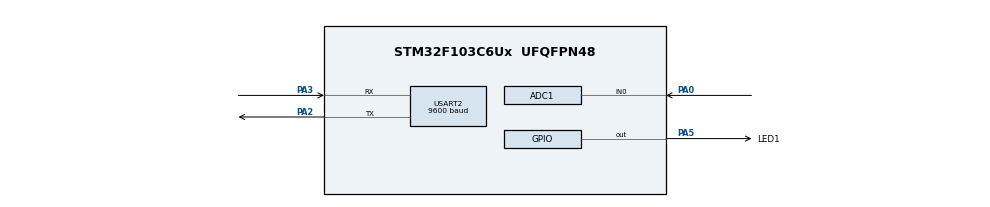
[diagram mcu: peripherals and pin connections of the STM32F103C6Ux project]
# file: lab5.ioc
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ADC1.Channel-0\#ChannelRegularConversion=ADC_CHANNEL_0
ADC1.ContinuousConvMode=ENABLE
ADC1.NbrOfConversionFlag=1
ADC1.Rank-0\#ChannelRegularConversion=1
ADC1.SamplingTime-0\#ChannelRegularConversion=ADC_SAMPLETIME_1CYCLE_5
ADC1.master=1
Mcu.Family=STM32F1
Mcu.Name=STM32F103C6Ux
Mcu.Package=UFQFPN48
NVIC.PriorityGroup=NVIC_PRIORITYGROUP_4
NVIC.TIM2_IRQn=true\:0\:0\:false\:false\:true\:true\:true
NVIC.USART2_IRQn=true\:0\:0\:false\:false\:true\:true\:true
PA0-WKUP.Signal=ADCx_IN0
PA2.Mode=Asynchronous
PA2.Signal=USART2_TX
PA3.Mode=Asynchronous
PA3.Signal=USART2_RX
PA5.GPIO_Label=LED1
PA5.Signal=GPIO_Output
ProjectManager.HeapSize=0x200
ProjectManager.StackSize=0x400
ProjectManager.TargetToolchain=STM32CubeIDE
RCC.APB1Freq_Value=8000000
RCC.APB2Freq_Value=8000000
SH.ADCx_IN0.0=ADC1_IN0,IN0
TIM2.Period=9
TIM2.Prescaler=7999
USART2.BaudRate=9600
USART2.VirtualMode=VM_ASYNC
VP_SYS_VS_ND.Mode=No_Debug
VP_TIM2_VS_ClockSourceINT.Mode=Internal
board=custom

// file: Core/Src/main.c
/* USER CODE BEGIN Header */
/**
 ******************************************************************************
 * @file           : main.c
 * @brief          : Main program body
 ******************************************************************************
 * @attention
 *
 * <h2><center>&copy; Copyright (c) 2024 STMicroelectronics.
 * All rights reserved.</center></h2>
 *
 * This software component is licensed by ST under BSD 3-Clause license,
 * the "License"; You may not use this file except in compliance with the
 * License. You may obtain a copy of the License at:
 *                        opensource.org/licenses/BSD-3-Clause
 *
 ******************************************************************************
 */
/* USER CODE END Header */
#include "main.h"

/* USER CODE BEGIN Includes */
#include "software_timer.h"
#include "command_parser_fsm.h"
#include "uart_communiation_fsm.h"
/* USER CODE END Includes */

ADC_HandleTypeDef hadc1;

TIM_HandleTypeDef htim2;

void SystemClock_Config(void);
static void MX_GPIO_Init(void);
static void MX_ADC1_Init(void);
static void MX_USART2_UART_Init(void);
static void MX_TIM2_Init(void);

/* USER CODE BEGIN 0 */

#define MAX_BUFFER_SIZE 30
UART_HandleTypeDef huart2;
uint8_t temp = 0;
uint8_t index_buffer = 0;
uint8_t buffer_flag = 0;
uint8_t buffer[MAX_BUFFER_SIZE];

void HAL_UART_RxCpltCallback(UART_HandleTypeDef * huart){
	if(huart->Instance == USART2){
		buffer[index_buffer++] = temp ;
		HAL_UART_Transmit (&huart2 ,&temp ,1,50) ;
		if(index_buffer >= MAX_BUFFER_SIZE) index_buffer = 0;
		buffer_flag = 1;
	    HAL_UART_Receive_IT(&huart2,&temp,1);
	}
}

/* USER CODE END 0 */

int main(void) {

	/* MCU Configuration--------------------------------------------------------*/

	/* Reset of all peripherals, Initializes the Flash interface and the Systick. */
	HAL_Init();

	/* Configure the system clock */
	SystemClock_Config();

	/* Initialize all configured peripherals */
	MX_GPIO_Init();
	MX_ADC1_Init();
	MX_USART2_UART_Init();
	MX_TIM2_Init();
	/* USER CODE BEGIN 2 */
	HAL_TIM_Base_Start_IT(&htim2);
//	HAL_ADC_Start(&hadc1);
	HAL_UART_Receive_IT(&huart2, &temp, 1);
//	uint32_t ADC_value = 2048;
//	char str[10];
	/* USER CODE END 2 */

	/* Infinite loop */
	while (1) {

		/* USER CODE BEGIN 3 */
		HAL_GPIO_TogglePin(LED1_GPIO_Port, LED1_Pin);  // Nhấp nháy LED
		HAL_Delay(500);                                      // Chờ 500ms
	}
	/* USER CODE END 3 */
}

void SystemClock_Config(void) {
	RCC_OscInitTypeDef RCC_OscInitStruct = { 0 };
	RCC_ClkInitTypeDef RCC_ClkInitStruct = { 0 };
	RCC_PeriphCLKInitTypeDef PeriphClkInit = { 0 };

	/** Initializes the RCC Oscillators according to the specified parameters
	 * in the RCC_OscInitTypeDef structure.
	 */
	RCC_OscInitStruct.OscillatorType = RCC_OSCILLATORTYPE_HSI;
	RCC_OscInitStruct.HSIState = RCC_HSI_ON;
	RCC_OscInitStruct.HSICalibrationValue = RCC_HSICALIBRATION_DEFAULT;
	RCC_OscInitStruct.PLL.PLLState = RCC_PLL_NONE;
	if (HAL_RCC_OscConfig(&RCC_OscInitStruct) != HAL_OK) {
		Error_Handler();
	}
	/** Initializes the CPU, AHB and APB buses clocks
	 */
	RCC_ClkInitStruct.ClockType = RCC_CLOCKTYPE_HCLK | RCC_CLOCKTYPE_SYSCLK
			| RCC_CLOCKTYPE_PCLK1 | RCC_CLOCKTYPE_PCLK2;
	RCC_ClkInitStruct.SYSCLKSource = RCC_SYSCLKSOURCE_HSI;
	RCC_ClkInitStruct.AHBCLKDivider = RCC_SYSCLK_DIV1;
	RCC_ClkInitStruct.APB1CLKDivider = RCC_HCLK_DIV1;
	RCC_ClkInitStruct.APB2CLKDivider = RCC_HCLK_DIV1;

	if (HAL_RCC_ClockConfig(&RCC_ClkInitStruct, FLASH_LATENCY_0) != HAL_OK) {
		Error_Handler();
	}
	PeriphClkInit.PeriphClockSelection = RCC_PERIPHCLK_ADC;
	PeriphClkInit.AdcClockSelection = RCC_ADCPCLK2_DIV2;
	if (HAL_RCCEx_PeriphCLKConfig(&PeriphClkInit) != HAL_OK) {
		Error_Handler();
	}
}

static void MX_ADC1_Init(void) {

	ADC_ChannelConfTypeDef sConfig = { 0 };

	/** Common config
	 */
	hadc1.Instance = ADC1;
	hadc1.Init.ScanConvMode = ADC_SCAN_DISABLE;
	hadc1.Init.ContinuousConvMode = ENABLE;
	hadc1.Init.DiscontinuousConvMode = DISABLE;
	hadc1.Init.ExternalTrigConv = ADC_SOFTWARE_START;
	hadc1.Init.DataAlign = ADC_DATAALIGN_RIGHT;
	hadc1.Init.NbrOfConversion = 1;
	if (HAL_ADC_Init(&hadc1) != HAL_OK) {
		Error_Handler();
	}
	/** Configure Regular Channel
	 */
	sConfig.Channel = ADC_CHANNEL_0;
	sConfig.Rank = ADC_REGULAR_RANK_1;
	sConfig.SamplingTime = ADC_SAMPLETIME_1CYCLE_5;
	if (HAL_ADC_ConfigChannel(&hadc1, &sConfig) != HAL_OK) {
		Error_Handler();
	}

}

static void MX_TIM2_Init(void) {

	TIM_ClockConfigTypeDef sClockSourceConfig = { 0 };
	TIM_MasterConfigTypeDef sMasterConfig = { 0 };

	htim2.Instance = TIM2;
	htim2.Init.Prescaler = 7999;
	htim2.Init.CounterMode = TIM_COUNTERMODE_UP;
	htim2.Init.Period = 9;
	htim2.Init.ClockDivision = TIM_CLOCKDIVISION_DIV1;
	htim2.Init.AutoReloadPreload = TIM_AUTORELOAD_PRELOAD_DISABLE;
	if (HAL_TIM_Base_Init(&htim2) != HAL_OK) {
		Error_Handler();
	}
	sClockSourceConfig.ClockSource = TIM_CLOCKSOURCE_INTERNAL;
	if (HAL_TIM_ConfigClockSource(&htim2, &sClockSourceConfig) != HAL_OK) {
		Error_Handler();
	}
	sMasterConfig.MasterOutputTrigger = TIM_TRGO_RESET;
	sMasterConfig.MasterSlaveMode = TIM_MASTERSLAVEMODE_DISABLE;
	if (HAL_TIMEx_MasterConfigSynchronization(&htim2, &sMasterConfig)
			!= HAL_OK) {
		Error_Handler();
	}

}

static void MX_USART2_UART_Init(void) {

	huart2.Instance = USART2;
	huart2.Init.BaudRate = 9600;
	huart2.Init.WordLength = UART_WORDLENGTH_8B;
	huart2.Init.StopBits = UART_STOPBITS_1;
	huart2.Init.Parity = UART_PARITY_NONE;
	huart2.Init.Mode = UART_MODE_TX_RX;
	huart2.Init.HwFlowCtl = UART_HWCONTROL_NONE;
	huart2.Init.OverSampling = UART_OVERSAMPLING_16;
	if (HAL_UART_Init(&huart2) != HAL_OK) {
		Error_Handler();
	}

}

static void MX_GPIO_Init(void) {
	GPIO_InitTypeDef GPIO_InitStruct = { 0 };

	/* GPIO Ports Clock Enable */
	__HAL_RCC_GPIOA_CLK_ENABLE();

	/*Configure GPIO pin Output Level */
	HAL_GPIO_WritePin(LED1_GPIO_Port, LED1_Pin, GPIO_PIN_RESET);

	/*Configure GPIO pin : LED1_Pin */
	GPIO_InitStruct.Pin = LED1_Pin;
	GPIO_InitStruct.Mode = GPIO_MODE_OUTPUT_PP;
	GPIO_InitStruct.Pull = GPIO_NOPULL;
	GPIO_InitStruct.Speed = GPIO_SPEED_FREQ_LOW;
	HAL_GPIO_Init(LED1_GPIO_Port, &GPIO_InitStruct);

}

/* USER CODE BEGIN 4 */
void HAL_TIM_PeriodElapsedCallback(TIM_HandleTypeDef *htim) {
//	timerRun();
}
/* USER CODE END 4 */

void Error_Handler(void) {
	__disable_irq();
	while (1) {
	}
}

/************************ (C) COPYRIGHT STMicroelectronics *****END OF FILE****/
